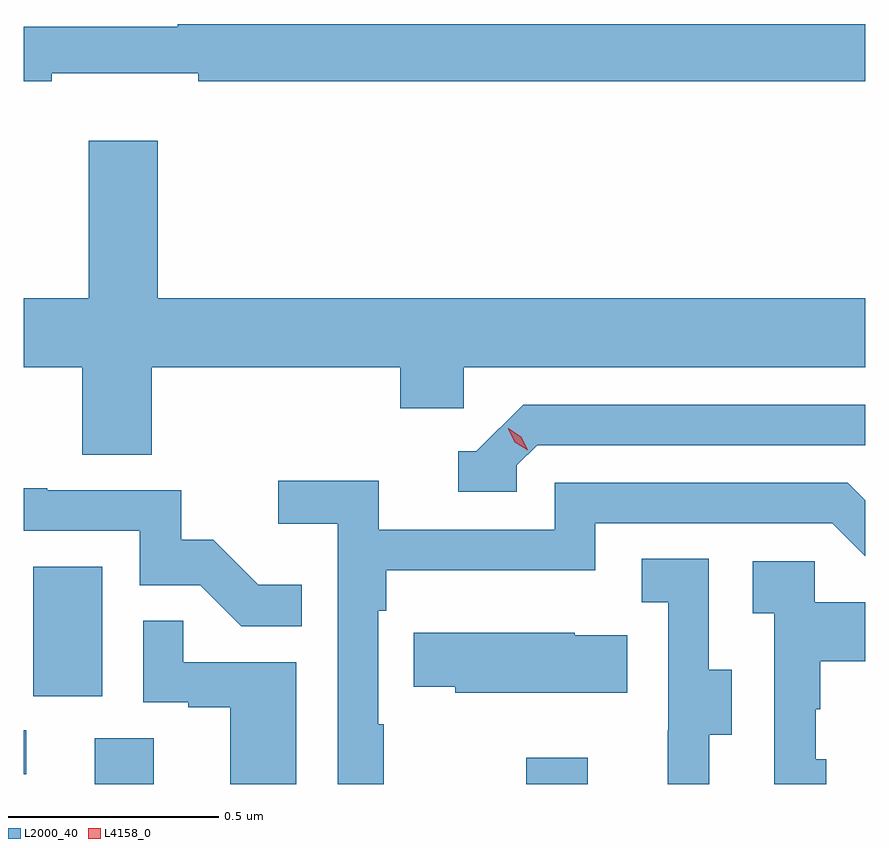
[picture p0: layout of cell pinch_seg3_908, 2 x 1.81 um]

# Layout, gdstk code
import gdstk
lib = gdstk.Library(unit=1e-6, precision=1e-09)
def R(c, l, rs):  # rectangles x0, y0, x1, y1
    for r in rs: c.add(gdstk.rectangle(r[:2], r[2:], *l))
def P(c, l, *ps):  # polygons
    for p in ps: c.add(gdstk.Polygon(p, *l))
L2000_40 = (2000, 40)
L4158_0 = (4158, 0)

pinch_seg3_908 = lib.new_cell('pinch_seg3_908')
R(pinch_seg3_908, L2000_40, [(884.303,691.933,884.443,692.042), (885.328,691.933,885.475,691.996), (884.134,691.956,884.14,692.061), (884.156,692.142,884.32,692.449)])
P(pinch_seg3_908, L2000_40, [(884.2,693.623),(884.548,693.623),(884.548,693.604),(886.134,693.604),(886.134,693.74),(884.5,693.74),(884.5,693.733),(884.134,693.733),(884.134,693.604),(884.2,693.604)],
  [(884.438,692.924),(885.029,692.924),(885.029,692.826),(885.18,692.826),(885.18,692.924),(886.134,692.924),(886.134,693.088),(884.452,693.088),(884.452,693.463),(884.288,693.463),(884.288,693.088),(884.134,693.088),(884.134,692.924),(884.273,692.924),(884.273,692.716),(884.438,692.716)],
  [(885.306,692.691),(885.354,692.739),(886.134,692.739),(886.134,692.835),(885.321,692.835),(885.21,692.724),(885.167,692.724),(885.167,692.628),(885.306,692.628)],
  [(884.989,692.075),(884.976,692.075),(884.976,692.345),(884.996,692.345),(884.996,692.441),(885.492,692.441),(885.492,692.553),(886.056,692.553),(886.134,692.475),(886.134,692.608),(886.093,692.649),(885.396,692.649),(885.396,692.538),(884.978,692.538),(884.978,692.654),(884.739,692.654),(884.739,692.552),(884.88,692.552),(884.88,691.933),(884.989,691.933)],
  [(884.795,692.407),(884.691,692.407),(884.584,692.514),(884.508,692.514),(884.508,692.631),(884.189,692.631),(884.189,692.636),(884.134,692.636),(884.134,692.535),(884.409,692.535),(884.409,692.406),(884.553,692.406),(884.651,692.308),(884.795,692.308)],
  [(885.763,692.05),(885.817,692.05),(885.817,692.205),(885.762,692.205),(885.762,692.468),(885.603,692.468),(885.603,692.365),(885.666,692.365),(885.666,692.061),(885.665,692.061),(885.665,691.933),(885.763,691.933)],
  [(886.042,691.992),(886.017,691.992),(886.017,692.111),(886.027,692.111),(886.027,692.225),(886.134,692.225),(886.134,692.365),(886.014,692.365),(886.014,692.463),(885.867,692.463),(885.867,692.339),(885.918,692.339),(885.918,691.933),(886.042,691.933)],
  [(884.782,692.223),(884.513,692.223),(884.513,692.321),(884.418,692.321),(884.418,692.127),(884.525,692.127),(884.525,692.115),(884.624,692.115),(884.624,691.933),(884.782,691.933)],
  [(885.569,692.287),(885.444,692.287),(885.444,692.293),(885.061,692.293),(885.061,692.164),(885.159,692.164),(885.159,692.15),(885.569,692.15)])
P(pinch_seg3_908, L4158_0, [(885.332,692.727),(885.301,692.746),(885.285,692.778),(885.285,692.779),(885.285,692.779),(885.316,692.759),(885.332,692.727),(885.332,692.727)])

lib.write_gds('pinch_seg3_908.gds')
